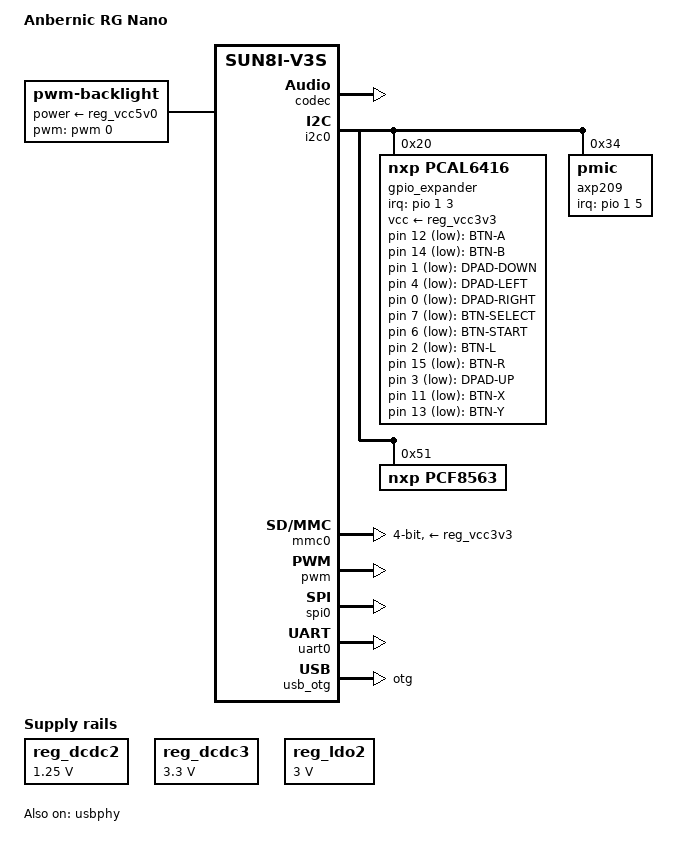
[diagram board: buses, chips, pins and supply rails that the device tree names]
// SPDX-License-Identifier: (GPL-2.0+ OR MIT)

/dts-v1/;
#include <dt-bindings/input/linux-event-codes.h>
#include "sun8i-v3s.dtsi"
#include "sunxi-common-regulators.dtsi"

/ {
	model = "Anbernic RG Nano";
	compatible = "anbernic,rg-nano", "allwinner,sun8i-v3s";

	aliases {
		serial0 = &uart0;
	};

	backlight: backlight {
		compatible = "pwm-backlight";
		pwms = <&pwm 0 40000 1>;
		brightness-levels = <0 1 2 3 8 14 21 32 46 60 80 100>;
		default-brightness-level = <11>;
		power-supply = <&reg_vcc5v0>;
	};

	chosen {
		stdout-path = "serial0:115200n8";
	};

	gpio_keys: gpio-keys {
		compatible = "gpio-keys";

		button-a {
			gpios = <&gpio_expander 12 (GPIO_ACTIVE_LOW | GPIO_PULL_UP)>;
			label = "BTN-A";
			linux,code = <BTN_EAST>;
		};

		button-b {
			gpios = <&gpio_expander 14 (GPIO_ACTIVE_LOW | GPIO_PULL_UP)>;
			label = "BTN-B";
			linux,code = <BTN_SOUTH>;
		};

		button-down {
			gpios = <&gpio_expander 1 (GPIO_ACTIVE_LOW | GPIO_PULL_UP)>;
			label = "DPAD-DOWN";
			linux,code = <BTN_DPAD_DOWN>;
		};

		button-left {
			gpios = <&gpio_expander 4 (GPIO_ACTIVE_LOW | GPIO_PULL_UP)>;
			label = "DPAD-LEFT";
			linux,code = <BTN_DPAD_LEFT>;
		};

		button-right {
			gpios = <&gpio_expander 0 (GPIO_ACTIVE_LOW | GPIO_PULL_UP)>;
			label = "DPAD-RIGHT";
			linux,code = <BTN_DPAD_RIGHT>;
		};

		button-se {
			gpios = <&gpio_expander 7 (GPIO_ACTIVE_LOW | GPIO_PULL_UP)>;
			label = "BTN-SELECT";
			linux,code = <BTN_SELECT>;
		};

		button-st {
			gpios = <&gpio_expander 6 (GPIO_ACTIVE_LOW | GPIO_PULL_UP)>;
			label = "BTN-START";
			linux,code = <BTN_START>;
		};

		button-tl {
			gpios = <&gpio_expander 2 (GPIO_ACTIVE_LOW | GPIO_PULL_UP)>;
			label = "BTN-L";
			linux,code = <BTN_TL>;
		};

		button-tr {
			gpios = <&gpio_expander 15 (GPIO_ACTIVE_LOW | GPIO_PULL_UP)>;
			label = "BTN-R";
			linux,code = <BTN_TR>;
		};

		button-up {
			gpios = <&gpio_expander 3 (GPIO_ACTIVE_LOW | GPIO_PULL_UP)>;
			label = "DPAD-UP";
			linux,code = <BTN_DPAD_UP>;
		};

		button-x {
			gpios = <&gpio_expander 11 (GPIO_ACTIVE_LOW | GPIO_PULL_UP)>;
			label = "BTN-X";
			linux,code = <BTN_NORTH>;
		};

		button-y {
			gpios = <&gpio_expander 13 (GPIO_ACTIVE_LOW | GPIO_PULL_UP)>;
			label = "BTN-Y";
			linux,code = <BTN_WEST>;
		};
	};
};

&codec {
	allwinner,audio-routing = "Speaker", "HP",
				  "MIC1", "Mic",
				  "Mic", "HBIAS";
	allwinner,pa-gpios = <&pio 5 6 (GPIO_ACTIVE_HIGH | GPIO_PULL_UP)>;
	status = "okay";
};

&cpu0 {
	clock-frequency = <1296000>;
	clock-latency = <244144>;
	operating-points = <
			/* kHz    uV */
			1296000 1200000
			1008000 1200000
			864000  1200000
			720000  1100000
			480000  1000000>;
};

&i2c0 {
	status = "okay";

	gpio_expander: gpio@20 {
		compatible = "nxp,pcal6416";
		reg = <0x20>;
		gpio-controller;
		#gpio-cells = <2>;
		#interrupt-cells = <2>;
		interrupt-controller;
		interrupt-parent = <&pio>;
		interrupts = <1 3 IRQ_TYPE_EDGE_BOTH>;
		vcc-supply = <&reg_vcc3v3>;
	};

	axp209: pmic@34 {
		reg = <0x34>;
		interrupt-parent = <&pio>;
		interrupts = <1 5 IRQ_TYPE_EDGE_FALLING>;
	};

	pcf8563: rtc@51 {
		compatible = "nxp,pcf8563";
		reg = <0x51>;
	};
};

#include "axp209.dtsi"

&battery_power_supply {
	status = "okay";
};

&mmc0 {
	broken-cd;
	bus-width = <4>;
	disable-wp;
	vmmc-supply = <&reg_vcc3v3>;
	vqmmc-supply = <&reg_vcc3v3>;
	status = "okay";
};

&pio {
	vcc-pb-supply = <&reg_vcc3v3>;
	vcc-pc-supply = <&reg_vcc3v3>;
	vcc-pf-supply = <&reg_vcc3v3>;
	vcc-pg-supply = <&reg_vcc3v3>;
};

&pwm {
	pinctrl-0 = <&pwm0_pins>;
	pinctrl-names = "default";
	status = "okay";
};

&reg_dcdc2 {
	regulator-always-on;
	regulator-max-microvolt = <1250000>;
	regulator-min-microvolt = <1250000>;
};

&reg_dcdc3 {
	regulator-always-on;
	regulator-max-microvolt = <3300000>;
	regulator-min-microvolt = <3300000>;
};

&reg_ldo2 {
	regulator-always-on;
	regulator-max-microvolt = <3000000>;
	regulator-min-microvolt = <3000000>;
};

&spi0 {
	status = "okay";
};

&uart0 {
	pinctrl-0 = <&uart0_pb_pins>;
	pinctrl-names = "default";
	status = "okay";
};

&usb_otg {
	dr_mode = "otg";
	status = "okay";
};

&usb_power_supply {
	status = "okay";
};

&usbphy {
	status = "okay";
};
